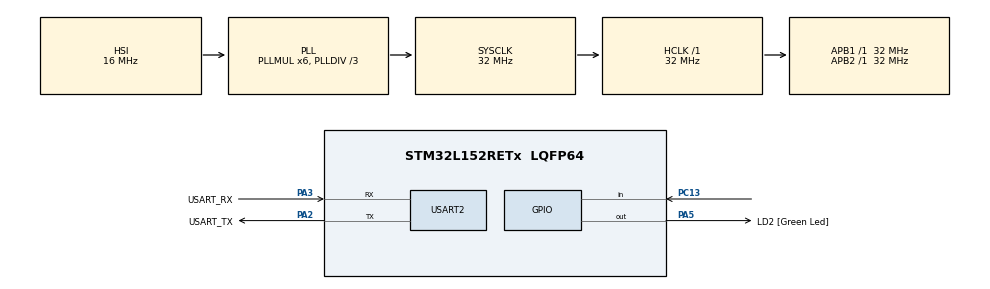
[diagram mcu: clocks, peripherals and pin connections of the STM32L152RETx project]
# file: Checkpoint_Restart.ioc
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Mcu.Family=STM32L1
Mcu.Name=STM32L152RETx
Mcu.Package=LQFP64
NVIC.PriorityGroup=NVIC_PRIORITYGROUP_0
PA13.GPIO_Label=TMS
PA13.Mode=Serial_Wire
PA13.Signal=SYS_JTMS-SWDIO
PA14.GPIO_Label=TCK
PA14.Mode=Serial_Wire
PA14.Signal=SYS_JTCK-SWCLK
PA2.GPIO_Label=USART_TX
PA2.Mode=Asynchronous
PA2.Signal=USART2_TX
PA3.GPIO_Label=USART_RX
PA3.Mode=Asynchronous
PA3.Signal=USART2_RX
PA5.GPIO_Label=LD2 [Green Led]
PA5.Signal=GPIO_Output
PB3.GPIO_Label=SWO
PB3.Signal=SYS_JTDO-TRACESWO
PC13-WKUP2.Signal=GPIO_Input
PC14-OSC32_IN.Mode=LSE-External-Oscillator
PC14-OSC32_IN.Signal=RCC_OSC32_IN
PC15-OSC32_OUT.Mode=LSE-External-Oscillator
PC15-OSC32_OUT.Signal=RCC_OSC32_OUT
PH0-OSC_IN.Mode=HSE-External-Clock-Source
PH0-OSC_IN.Signal=RCC_OSC_IN
PH1-OSC_OUT.Signal=RCC_OSC_OUT
ProjectManager.HeapSize=0x200
ProjectManager.StackSize=0x400
ProjectManager.TargetToolchain=STM32CubeIDE
RCC.48MHZClocksFreq_Value=48000000
RCC.AHBFreq_Value=32000000
RCC.APB1Freq_Value=32000000
RCC.APB1TimFreq_Value=32000000
RCC.APB2Freq_Value=32000000
RCC.APB2TimFreq_Value=32000000
RCC.HCLKFreq_Value=32000000
RCC.HSE_VALUE=8000000
RCC.HSI_VALUE=16000000
RCC.MSI_VALUE=2097000
RCC.PLLDIV=RCC_PLL_DIV3
RCC.PLLMUL=RCC_PLL_MUL6
RCC.RTCClockSelectionVirtual=RCC_RTCCLKSOURCE_LSE
RCC.SYSCLKFreq_VALUE=32000000
RCC.SYSCLKSource=RCC_SYSCLKSOURCE_PLLCLK
RCC.USBOutput=48000000
RCC.VCOOutputFreq_Value=96000000
USART2.VirtualMode=VM_ASYNC
board=NUCLEO-L152RE

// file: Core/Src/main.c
/* USER CODE BEGIN Header */

/* USER CODE END Header */
#include "main.h"

/* USER CODE BEGIN Includes */
#include <stdio.h>
#include <string.h>
/* USER CODE END Includes */

/* USER CODE BEGIN PTD */

//Struct that will be saved in EEPROM
typedef struct {
	// The checkpoint's information will be on top of the EEPROM
	uint32_t valid_checkpoint;	// Contains 0xACCEDED if there is a valid checkpoint
	uint32_t latest_checkpoint;	// Index of the most recent checkpoint
	uint32_t stack_size;	// Stack dimension (bytes)

	// Main Stack Pointer value at checkpoint time
	uint32_t msp;

	//Hardware exception frame registers
	uint32_t r0;
	uint32_t r1;
	uint32_t r2;
	uint32_t r3;
	uint32_t r12;
	uint32_t lr;
	uint32_t pc;
	uint32_t psr;

} SystemState;

/* USER CODE END PTD */

/* USER CODE BEGIN PD */

#define MATRIX_SIZE 15

/* USER CODE END PD */

UART_HandleTypeDef huart2;

/* USER CODE BEGIN PV */

//Initialization of the struct for future checkpoints
SystemState saved_context = {0};

/* USER CODE END PV */

void SystemClock_Config(void);
static void MX_GPIO_Init(void);
static void MX_USART2_UART_Init(void);
/* USER CODE BEGIN PFP */

// Function declarations
void Capture_Registers(uint32_t *stack_pointer); // Saves the MSP, the Exception frame and registers R4-R11
void Save_State_EEPROM(SystemState *stato); // Saves in EEPROM local variables and the elements above
void Restore_Context(void); // Restores EEPROM's data in RAM
void LU_Decomposition(void);
void Print_Matrix(float mat[MATRIX_SIZE][MATRIX_SIZE], const char* name); // Function used to show the actual process (debug print)
void Print_Reset_Cause(void);//Function used to show the cause of the reset

/* USER CODE END PFP */

/* USER CODE BEGIN 0 */
extern uint32_t _estack;

// Calculates the dimension of the Stack
void Analyze_Stack(void)
{
    uint32_t starting_address = (uint32_t)&_estack; // Stack top (provided by linker)
    uint32_t current_address = __get_MSP();  // Read current MSP via CMSIS
    uint32_t stack_size_bytes = starting_address - current_address;

    printf(" Starting address: 0x%08lX \r\n", starting_address);
    printf(" Current MSP:      0x%08lX \r\n", current_address);
    printf(" Stack dimension:  %lu byte \r\n\r\n", stack_size_bytes);
}

void Software_Delay(void)
{
    for (volatile uint32_t j = 0; j < 16000000; j++) {	//5 seconds delay to see the progress
    }
}

void Print_Reset_Cause(void)
{
    printf("\r\n\r\n Reset cause: ");

        if (__HAL_RCC_GET_FLAG(RCC_FLAG_PORRST)) {
            printf("Power-On / Power-Down Reset (POR/PDR) \r\n");
        }
        else if (__HAL_RCC_GET_FLAG(RCC_FLAG_PINRST)) {
            printf("Hardware Pin Reset (NRST Button) \r\n");
        }
        else if (__HAL_RCC_GET_FLAG(RCC_FLAG_SFTRST)) {
            printf("Software Reset (NVIC_SystemReset) \r\n");
        }
        else if (__HAL_RCC_GET_FLAG(RCC_FLAG_IWDGRST)) {
            printf("Independent Watchdog Timeout \r\n");
        }
        else if (__HAL_RCC_GET_FLAG(RCC_FLAG_WWDGRST)) {
            printf("Window Watchdog Timeout \r\n");
        }
        else if (__HAL_RCC_GET_FLAG(RCC_FLAG_LPWRRST)) {
            printf("Low-Power Reset \r\n");
        }
        else if (__HAL_RCC_GET_FLAG(RCC_FLAG_OBLRST)) {
            printf("Option Byte Load Reset \r\n");
        }
        else {
            printf("Unidentifiable flags \r\n");
        }

    __HAL_RCC_CLEAR_RESET_FLAGS();
}

void Print_Matrix(float mat[MATRIX_SIZE][MATRIX_SIZE], const char* name)
{
    printf("\r\n %s matrix: \r\n", name);
    for (int r = 0; r < MATRIX_SIZE; r++) {
        for (int c = 0; c < MATRIX_SIZE; c++) {
            printf("%7.2f ", mat[r][c]);	//%7.2f to align columns
        }
        printf("\r\n");
    }
}

void LU_Decomposition(void)
{
	//FIRST PHASE: LU DECOMPOSITION
	printf("\r\n====== STARTING LU DECOMPOSITION ======\r\n");

    // 1. Local variables declarations
    float A[MATRIX_SIZE][MATRIX_SIZE];
    float L[MATRIX_SIZE][MATRIX_SIZE] = {0};
    float U[MATRIX_SIZE][MATRIX_SIZE] = {0};

    // 2. Matrix creation, we use incremental values to have a deterministic process
    printf("\r\n Initializing matrix %d x %d \r\n", MATRIX_SIZE, MATRIX_SIZE);

    for (int i = 0; i < MATRIX_SIZE; i++) {
        for (int j = 0; j < MATRIX_SIZE; j++) {
            A[i][j] = (float)(i * MATRIX_SIZE + j + 1);
            if (i == j) A[i][j] += 100.0f;	// To avoid divisions by zero we increment the values on the diagonal
        }
    }

    // 3. Calculation process (complexity O(n^3))
    printf("\r\n Starting calculation: \r\n");

    for (int i = 0; i < MATRIX_SIZE; i++)
    {
        printf("\r\n Calculating [%d / %d] \r\n", i + 1, MATRIX_SIZE);

        // Upper matrix
        for (int k = i; k < MATRIX_SIZE; k++) {
            float sum = 0.0f;
            for (int j = 0; j < i; j++) {
                sum += (L[i][j] * U[j][k]);
            }
            U[i][k] = A[i][k] - sum;
        }

        // Lower matrix
        for (int k = i; k < MATRIX_SIZE; k++) {
            if (i == k) {
                L[i][i] = 1.0f;
            } else {
                float sum = 0.0f;
                for (int j = 0; j < i; j++) {
                    sum += (L[k][j] * U[j][i]);
                }
                L[k][i] = (A[k][i] - sum) / U[i][i];
            }
        }
        printf("\r\n Matrix at the end of the phase %d: \r\n", i + 1);
        Print_Matrix(L, "Lower");
        Print_Matrix(U, "Upper");

        // Checkpoint after each phase (Calls interrupt by PendSV)
        printf("\r\n Saving state in EEPROM (Checkpoint %d) \r\n", i + 1);
        SCB->ICSR |= SCB_ICSR_PENDSVSET_Msk;
        Software_Delay();
    }

    //SECOND PHASE: SYSTEM RESOLUTION
	printf("\r\n====== SYSTEM RESOLUTION ======\r\n");

	// 1. Vectors declaration (as local variables in stack)
	float b[MATRIX_SIZE];	// Right-hand side vector
	float y[MATRIX_SIZE] = {0};	// Intermediate vector
	float x[MATRIX_SIZE] = {0};	// Solution vector

	printf("\r\n Right-hand side vector (b): \r\n");
	for (int i = 0; i < MATRIX_SIZE; i++) {
		b[i] = (float)(i + 1) * 10.0f; // Random numbers (always multiple of 10)
		printf("%7.2f \r\n", b[i]);
	}

	printf("\r\n Last Checkpoint before solving the system \r\n");
	SCB->ICSR |= SCB_ICSR_PENDSVSET_Msk;
	Software_Delay();

	// 2. Forward Substitution (L * y = b)
	printf("\r\n Forward Substitution \r\n");
	for (int i = 0; i < MATRIX_SIZE; i++) {
		float sum = 0.0f;
		for (int j = 0; j < i; j++) {
			sum += L[i][j] * y[j];
		}
		y[i] = (b[i] - sum) / L[i][i];
	}

	printf("\r\n Saving state before Backward substitution \r\n");
	SCB->ICSR |= SCB_ICSR_PENDSVSET_Msk;
	Software_Delay();

	// 3. Backward Substitution (U * x = y)
	printf("\r\n Backward Substitution \r\n");
	for (int i = MATRIX_SIZE - 1; i >= 0; i--) {
		float sum = 0.0f;
		for (int j = i + 1; j < MATRIX_SIZE; j++) {
			sum += U[i][j] * x[j];
		}
		x[i] = (y[i] - sum) / U[i][i];
	}

	// 4. System solutions
	printf("\r\n====== SYSTEM SOLUTION ======\r\n");
	for (int i = 0; i < MATRIX_SIZE; i++) {
		printf("\r\n x[%d] = %7.4f \r\n ", i, x[i]);
	}

	printf("\r\n====== FUNCTION COMPLETED ======\r\n");

	// Cleaning the magic word in EEPROM to invalid any checkpoint
	HAL_FLASHEx_DATAEEPROM_Unlock();
	HAL_FLASHEx_DATAEEPROM_Program(FLASH_TYPEPROGRAMDATA_WORD, 0x08080000, 0x00000000);
	HAL_FLASHEx_DATAEEPROM_Lock();
	printf("\r\n Magic word deleted \r\n");
}
/* USER CODE END 0 */

int main(void)
{

  /* MCU Configuration--------------------------------------------------------*/

  /* Reset of all peripherals, Initializes the Flash interface and the Systick. */
  HAL_Init();

  /* Configure the system clock */
  SystemClock_Config();

  /* Initialize all configured peripherals */
  MX_GPIO_Init();
  MX_USART2_UART_Init();
  /* USER CODE BEGIN 2 */
  /* USER CODE BEGIN 2 */

  HAL_Delay(2000);
  Print_Reset_Cause();
  printf("\r\n====== SYSTEM INITIALIZATION ======\r\n");

  //HAL_FLASHEx_DATAEEPROM_Unlock();
  //HAL_FLASHEx_DATAEEPROM_Program(FLASH_TYPEPROGRAMDATA_WORD, 0x08080000, 0x00000000);
  //HAL_FLASHEx_DATAEEPROM_Lock();

  printf("\r\n Stack status before the function: \r\n");
  Analyze_Stack();

    // Searching for a valid checkpoint in EEPROM
    uint32_t check_validity = *(__IO uint32_t *)(0x08080000);
    if (check_validity == 0xACCEDED) {
            printf(" Valid checkpoint found in EEPROM, starting recovery process \r\n");
            HAL_Delay(1000);

            // Static variables to avoid overwriting registers during the recovery process.`
            static uint32_t eeprom_addr;
            static uint32_t *ptr_struct;
            static uint32_t struct_size;
            static uint32_t *ptr_ram;
            static uint32_t ram_words;
            static uint32_t i;

            // Copy of the registers in RAM
            eeprom_addr = 0x08080000;
            ptr_struct = (uint32_t*)&saved_context;
            struct_size = sizeof(SystemState) / 4;
            for (i = 0; i < struct_size; i++) {
                ptr_struct[i] = *(__IO uint32_t *)eeprom_addr;
                eeprom_addr += 4;
            }

            // Copy of the remaining values
            ptr_ram = (uint32_t*)saved_context.msp;
            ram_words = saved_context.stack_size / 4;

            // Restoring R4-R11
            for (i = 0; i < 8; i++) {
                ptr_ram[i] = *(__IO uint32_t *)eeprom_addr;
                eeprom_addr += 4;
            }

            // Restoring Local variables
            for (i = 16; i < ram_words; i++) {
                ptr_ram[i] = *(__IO uint32_t *)eeprom_addr;
                eeprom_addr += 4;
            }

            Restore_Context();
    }
    else
    {
        printf(" No valid checkpoint found \r\n");
    }

    //Come back to function with context and memory restored
    LU_Decomposition();

  /* USER CODE END 2 */

  /* Infinite loop */
  while (1)
  {
  }
}

void SystemClock_Config(void)
{
  RCC_OscInitTypeDef RCC_OscInitStruct = {0};
  RCC_ClkInitTypeDef RCC_ClkInitStruct = {0};

  /** Configure the main internal regulator output voltage
  */
  __HAL_PWR_VOLTAGESCALING_CONFIG(PWR_REGULATOR_VOLTAGE_SCALE1);

  /** Initializes the RCC Oscillators according to the specified parameters
  * in the RCC_OscInitTypeDef structure.
  */
  RCC_OscInitStruct.OscillatorType = RCC_OSCILLATORTYPE_HSI;
  RCC_OscInitStruct.HSIState = RCC_HSI_ON;
  RCC_OscInitStruct.HSICalibrationValue = RCC_HSICALIBRATION_DEFAULT;
  RCC_OscInitStruct.PLL.PLLState = RCC_PLL_ON;
  RCC_OscInitStruct.PLL.PLLSource = RCC_PLLSOURCE_HSI;
  RCC_OscInitStruct.PLL.PLLMUL = RCC_PLL_MUL6;
  RCC_OscInitStruct.PLL.PLLDIV = RCC_PLL_DIV3;
  if (HAL_RCC_OscConfig(&RCC_OscInitStruct) != HAL_OK)
  {
    Error_Handler();
  }

  /** Initializes the CPU, AHB and APB buses clocks
  */
  RCC_ClkInitStruct.ClockType = RCC_CLOCKTYPE_HCLK|RCC_CLOCKTYPE_SYSCLK
                              |RCC_CLOCKTYPE_PCLK1|RCC_CLOCKTYPE_PCLK2;
  RCC_ClkInitStruct.SYSCLKSource = RCC_SYSCLKSOURCE_PLLCLK;
  RCC_ClkInitStruct.AHBCLKDivider = RCC_SYSCLK_DIV1;
  RCC_ClkInitStruct.APB1CLKDivider = RCC_HCLK_DIV1;
  RCC_ClkInitStruct.APB2CLKDivider = RCC_HCLK_DIV1;

  if (HAL_RCC_ClockConfig(&RCC_ClkInitStruct, FLASH_LATENCY_1) != HAL_OK)
  {
    Error_Handler();
  }
}

static void MX_USART2_UART_Init(void)
{

  huart2.Instance = USART2;
  huart2.Init.BaudRate = 115200;
  huart2.Init.WordLength = UART_WORDLENGTH_8B;
  huart2.Init.StopBits = UART_STOPBITS_1;
  huart2.Init.Parity = UART_PARITY_NONE;
  huart2.Init.Mode = UART_MODE_TX_RX;
  huart2.Init.HwFlowCtl = UART_HWCONTROL_NONE;
  huart2.Init.OverSampling = UART_OVERSAMPLING_16;
  if (HAL_UART_Init(&huart2) != HAL_OK)
  {
    Error_Handler();
  }

}

static void MX_GPIO_Init(void)
{
  GPIO_InitTypeDef GPIO_InitStruct = {0};

  /* GPIO Ports Clock Enable */
  __HAL_RCC_GPIOC_CLK_ENABLE();
  __HAL_RCC_GPIOH_CLK_ENABLE();
  __HAL_RCC_GPIOA_CLK_ENABLE();
  __HAL_RCC_GPIOB_CLK_ENABLE();

  /*Configure GPIO pin Output Level */
  HAL_GPIO_WritePin(LD2_GPIO_Port, LD2_Pin, GPIO_PIN_RESET);

  /*Configure GPIO pin : PC13 */
  GPIO_InitStruct.Pin = GPIO_PIN_13;
  GPIO_InitStruct.Mode = GPIO_MODE_INPUT;
  GPIO_InitStruct.Pull = GPIO_NOPULL;
  HAL_GPIO_Init(GPIOC, &GPIO_InitStruct);

  /*Configure GPIO pin : LD2_Pin */
  GPIO_InitStruct.Pin = LD2_Pin;
  GPIO_InitStruct.Mode = GPIO_MODE_OUTPUT_PP;
  GPIO_InitStruct.Pull = GPIO_NOPULL;
  GPIO_InitStruct.Speed = GPIO_SPEED_FREQ_LOW;
  HAL_GPIO_Init(LD2_GPIO_Port, &GPIO_InitStruct);

}

/* USER CODE BEGIN 4 */
void PendSV_Handler(void) __attribute__((naked));
void PendSV_Handler(void)
{
    __asm volatile(
        "push {r4-r11} \n"           // Saving register R4-R11
        "mrs r0, msp \n"             // Sending MSP to function using R0

        "push {r3, lr} \n"           // Saving EXC_RETURN in R3
        "bl Capture_Registers \n"    // Branch to function (with link), original LR value is saved in R3
        "pop {r3, lr} \n"            // Restoring EXC_RETURN

        "pop {r4-r11} \n"            // Restoring other registers
        "bx lr \n"                   // Reading EXC_RETURN and come back to function
    );
}

//Saves registers values in the struct
void Capture_Registers(uint32_t *stack_pointer)
{

    saved_context.valid_checkpoint = 0xACCEDED;
    saved_context.latest_checkpoint = 1;		//will be used for future checks (CRC, DualSlot A-B)
    saved_context.msp = (uint32_t)stack_pointer;

    //Start from index 8 cause positions from 0 to 7 are occupied by registers R4-R11 (manually pushed)
    saved_context.r0 = stack_pointer[8];
    saved_context.r1 = stack_pointer[9];
    saved_context.r2 = stack_pointer[10];
    saved_context.r3 = stack_pointer[11];
    saved_context.r12 = stack_pointer[12];
    saved_context.lr = stack_pointer[13];
    saved_context.pc = stack_pointer[14];
    saved_context.psr= stack_pointer[15];

    Save_State_EEPROM(&saved_context);
}

//Saves the stack values in EEPROM
void Save_State_EEPROM(SystemState *saved_state)
{
	printf("\r\n Starting EEPROM dump \r\n");

    // MSP validity check
    uint32_t eeprom_address = 0x08080000;
    uint32_t starting_address = (uint32_t)&_estack;
    uint32_t current_address = saved_state->msp;
    if (current_address > starting_address || current_address < 0x20000000) {
        printf(" Error: Invalid MSP (%08lX) \r\n", current_address);
        return;
    }

    saved_state->stack_size = starting_address - current_address;
    printf(" Bytes to copy in EEPROM: %lu \r\n", saved_state->stack_size);

	//Starting EEPROM dump timer
	CoreDebug->DEMCR |= CoreDebug_DEMCR_TRCENA_Msk;
	DWT->CYCCNT = 0;
	DWT->CTRL |= DWT_CTRL_CYCCNTENA_Msk;
	uint32_t start_cycles = DWT->CYCCNT;

    //Writing values in EEPROM
    HAL_FLASHEx_DATAEEPROM_Unlock();

    // Saving SystemState starting from address 0x08080000
    uint32_t *ptr_struct = (uint32_t*)saved_state;
    uint32_t struct_size_words = sizeof(SystemState) / 4;
    for (uint32_t i = 0; i < struct_size_words; i++) {
        HAL_FLASHEx_DATAEEPROM_Program(FLASH_TYPEPROGRAMDATA_WORD, eeprom_address, ptr_struct[i]);
        eeprom_address += 4;	// Advance by 4 bytes at a time
    }

    // Saving remaining data, excluding the redundant Exception frame (index from 8 to 15)
    uint32_t *ptr_ram = (uint32_t*)current_address;
    uint32_t ram_words = saved_state -> stack_size / 4;

    // Saving R4-R11
    for (uint32_t i = 0; i < 8; i++) {
        HAL_FLASHEx_DATAEEPROM_Program(FLASH_TYPEPROGRAMDATA_WORD, eeprom_address, ptr_ram[i]);
        eeprom_address += 4;
    }

    // Saving Local variables
    for (uint32_t i = 16; i < ram_words; i++) {
            HAL_FLASHEx_DATAEEPROM_Program(FLASH_TYPEPROGRAMDATA_WORD, eeprom_address, ptr_ram[i]);
            eeprom_address += 4;
    }

    HAL_FLASHEx_DATAEEPROM_Lock();

    //Stopping EEPROM dump timer
    uint32_t end_cycles = DWT->CYCCNT;
    uint32_t total_cycles = end_cycles - start_cycles;

    uint32_t clock_per_ms = SystemCoreClock / 1000;
    uint32_t time_ms = total_cycles / clock_per_ms;
    uint32_t time_us = (total_cycles % clock_per_ms) / (SystemCoreClock / 1000000);

    printf("\r\n CPU Clock Cycles Spent: %lu\r\n", total_cycles);
    printf(" Effective Dump Time: %lu ms and %lu us\r\n", time_ms, time_us);
    printf("\r\n EEPROM dump completed \r\n");
}

void Restore_Context(void) __attribute__((naked));
void Restore_Context(void)
{
    __asm volatile(
	// Store in R0 the address of the global variable saved_context,
	// which contains the data needed for restoration (loaded from EEPROM).
    "ldr r0, = saved_context \n"

	// Restore MSP
	"ldr r1, [r0, #12] \n"  // MSP is stored at offset 12 in the saved struct; load it into R1
	"msr msp, r1 \n"        // Force the processor to use that MSP value
	"pop {r4-r11} \n"       // Restore R4-R11; with the correct MSP, a single pop is enough

	// Use R1 to move MSP to the saved local variables
	"mrs r1, msp \n"        // Load the current MSP value into R1
	"add r1, r1, #32 \n"    // Skip the exception frame (8 registers x 4 bytes each)
	"msr msp, r1 \n"        // Update MSP

	// Use R2 to restore PC
	"ldr r2, [r0, #40] \n"  // PC is at offset 40 in the saved struct; load it into R2
	"orr r2, r2, #1 \n"     // Set the Thumb bit to avoid a UsageFault (ARM state is not supported)
	"push {r2} \n"          // Push PC (with LSB = 1) onto the top of the stack

	// Use R2 to restore the program status register (arithmetic flags)
	"ldr r2, [r0, #44] \n"      // xPSR value is stored at offset 44 in the struct
	"msr apsr_nzcvq, r2 \n"     // Restore arithmetic flags (NZCVQ)

	// Restore the remaining registers
	"ldr lr,  [r0, #36] \n"
	"ldr r12, [r0, #32] \n"
	"ldr r3,  [r0, #28] \n"
	"ldr r2,  [r0, #24] \n"
	"ldr r1,  [r0, #20] \n"
	"ldr r0,  [r0, #16] \n"  // Restore R0 last, since it is used as the base pointer above

	// Pop PC (which was pushed to the top of the stack) and return
	// to the instruction where the checkpoint was taken
	"pop {pc} \n"
    );
}

int _write(int file, char *ptr, int len) {
    HAL_UART_Transmit(&huart2, (uint8_t*)ptr, len, HAL_MAX_DELAY);
    return len;
}

/* USER CODE END 4 */

void Error_Handler(void)
{
  __disable_irq();
  while (1)
  {
  }
}
